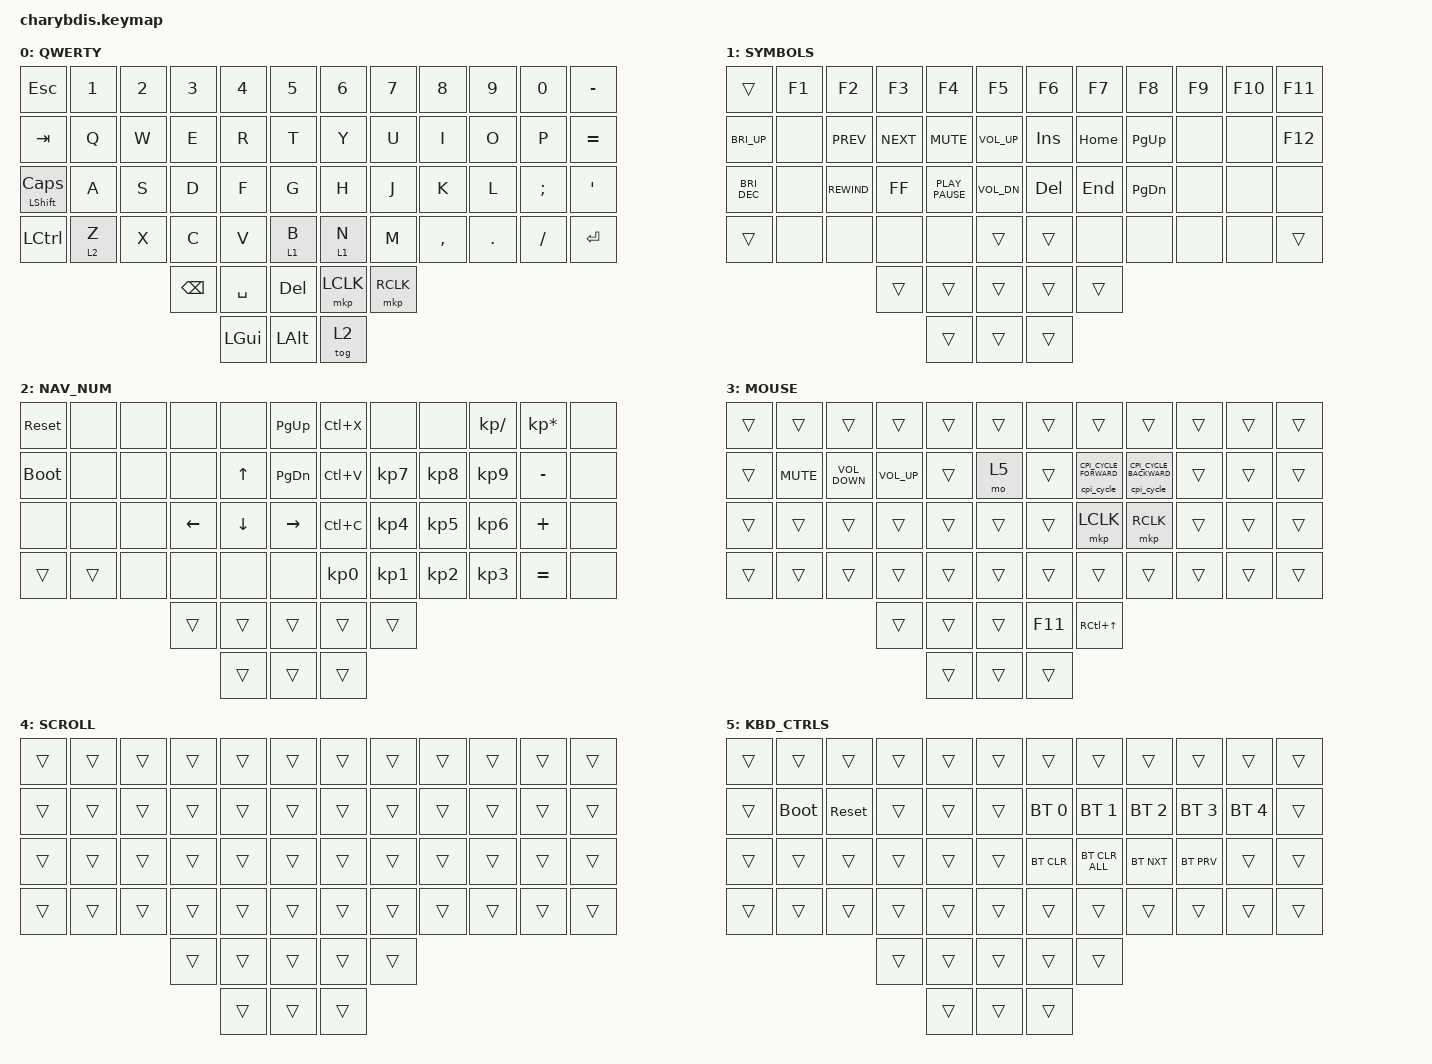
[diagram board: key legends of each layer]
#include <behaviors/mouse_keys.dtsi>
#include <dt-bindings/zmk/mouse.h>
#include <behaviors.dtsi>
#include <dt-bindings/zmk/bt.h>
#include <dt-bindings/zmk/keys.h>
#include <dt-bindings/zmk/pointing.h>
#include "macros.dtsi"

#define U_TAPPING_TERM 200
#define CPI_CYCLE_FORWARD 1

// Four-value cycle: +3 is equivalent to -1 without the module's negative-index overflow.

#define CPI_CYCLE_BACKWARD 3

&lt {
    tapping-term-ms = <U_TAPPING_TERM>;
    quick-tap-ms = <U_TAPPING_TERM>;
    flavor = "tap-preferred";
};

/ {
    behaviors {
        hrm_right: hrm_right {
            compatible = "zmk,behavior-hold-tap";
            label = "Homerow Mods Right";
            bindings = <&kp>, <&kp>;

            #binding-cells = <2>;
            tapping-term-ms = <200>;
            quick-tap-ms = <200>;
            flavor = "tap-preferred";
            hold-trigger-key-positions = <13 14 15 16 17 25 26 27 28 29 37 38 39 40 41 48 49>;
        };

        hrm_left: hrm_left {
            compatible = "zmk,behavior-hold-tap";
            label = "Homerow Mods Left";
            bindings = <&kp>, <&kp>;

            #binding-cells = <2>;
            tapping-term-ms = <200>;
            quick-tap-ms = <200>;
            flavor = "tap-preferred";
            hold-trigger-key-positions = <18 19 20 21 22 30 31 32 33 34 42 43 44 45 46 50 51>;
        };
    };

    combos {
        compatible = "zmk,combos";

        toggle_mouse_layer {
            bindings = <&tog 3>;
            key-positions = <51 22>;
        };

        return_base_layer {
            bindings = <&to 0>;
            key-positions = <18 51>;
        };
    };

    keymap {
        compatible = "zmk,keymap";

        BASE {
            display-name = "QWERTY";
            bindings = <
&kp ESC              &kp NUMBER_1  &kp N2  &kp N3         &kp N4        &kp N5          &kp N6     &kp N7     &kp N8     &kp N9      &kp N0         &kp MINUS
&kp TAB              &kp Q         &kp W   &kp E          &kp R         &kp T           &kp Y      &kp U      &kp I      &kp O       &kp P          &kp EQUAL
&mt LSHIFT CAPSLOCK  &kp A         &kp S   &kp D          &kp F         &kp G           &kp H      &kp J      &kp K      &kp L       &kp SEMICOLON  &kp APOS
&kp LCTRL            &lt 2 Z       &kp X   &kp C          &kp V         &lt 1 B         &lt 1 N    &kp M      &kp COMMA  &kp PERIOD  &kp SLASH      &kp ENTER
                                           &kp BACKSPACE  &kp SPACE     &kp DEL         &mkp LCLK  &mkp RCLK
                                                          &kp LEFT_GUI  &kp LEFT_ALT    &tog 2
            >;
        };

        SYMBOLS {
            display-name = "SYMBOLS";
            bindings = <
&trans                &kp F1  &kp F2        &kp F3      &kp F4            &kp F5             &kp F6   &kp F7    &kp F8         &kp F9  &kp F10  &kp F11
&kp C_BRI_UP          &none   &kp K_PREV    &kp K_NEXT  &kp K_MUTE        &kp C_VOLUME_UP    &kp INS  &kp HOME  &kp PAGE_UP    &none   &none    &kp F12
&kp C_BRIGHTNESS_DEC  &none   &kp C_REWIND  &kp C_FF    &kp K_PLAY_PAUSE  &kp C_VOL_DN       &kp DEL  &kp END   &kp PAGE_DOWN  &none   &none    &none
&trans                &none   &none         &none       &none             &trans             &trans   &none     &none          &none   &none    &trans
                                            &trans      &trans            &trans             &trans   &trans
                                                        &trans            &trans             &trans
            >;
        };

        NAV_NUM {
            display-name = "NAV_NUM";
            bindings = <
&sys_reset   &none   &none  &none     &none           &kp PAGE_UP      &kp LC(X)        &none            &none            &kp KP_DIVIDE    &kp KP_MULTIPLY  &none
&bootloader  &none   &none  &none     &kp UP          &kp PAGE_DOWN    &kp LC(V)        &kp KP_NUMBER_7  &kp KP_NUMBER_8  &kp KP_NUMBER_9  &kp MINUS        &none
&none        &none   &none  &kp LEFT  &kp DOWN_ARROW  &kp RIGHT        &kp LC(C)        &kp KP_NUMBER_4  &kp KP_NUMBER_5  &kp KP_NUMBER_6  &kp PLUS         &none
&trans       &trans  &none  &none     &none           &none            &kp KP_NUMBER_0  &kp KP_NUMBER_1  &kp KP_NUMBER_2  &kp KP_NUMBER_3  &kp EQUAL        &none
                            &trans    &trans          &trans           &trans           &trans
                                      &trans          &trans           &trans
            >;
        };

        MOUSE {
            display-name = "MOUSE";
            bindings = <
&trans  &trans      &trans             &trans           &trans  &trans    &trans   &trans                        &trans                         &trans  &trans  &trans
&trans  &kp K_MUTE  &kp C_VOLUME_DOWN  &kp C_VOLUME_UP  &trans  &mo 5     &trans   &cpi_cycle CPI_CYCLE_FORWARD  &cpi_cycle CPI_CYCLE_BACKWARD  &trans  &trans  &trans
&trans  &trans      &trans             &trans           &trans  &trans    &trans   &mkp LCLK                     &mkp RCLK                      &trans  &trans  &trans
&trans  &trans      &trans             &trans           &trans  &trans    &trans   &trans                        &trans                         &trans  &trans  &trans
                                       &trans           &trans  &trans    &kp F11  &kp RC(UP_ARROW)
                                                        &trans  &trans    &trans
            >;
        };

        SCROLL {
            display-name = "SCROLL";
            bindings = <
&trans  &trans  &trans  &trans  &trans  &trans    &trans  &trans  &trans  &trans  &trans  &trans
&trans  &trans  &trans  &trans  &trans  &trans    &trans  &trans  &trans  &trans  &trans  &trans
&trans  &trans  &trans  &trans  &trans  &trans    &trans  &trans  &trans  &trans  &trans  &trans
&trans  &trans  &trans  &trans  &trans  &trans    &trans  &trans  &trans  &trans  &trans  &trans
                        &trans  &trans  &trans    &trans  &trans
                                &trans  &trans    &trans
            >;
        };

        KEYBOARD_CONTROLS {
            display-name = "KBD_CTRLS";
            bindings = <
&trans  &trans       &trans      &trans  &trans  &trans    &trans        &trans          &trans        &trans        &trans        &trans
&trans  &bootloader  &sys_reset  &trans  &trans  &trans    &bt BT_SEL 0  &bt BT_SEL 1    &bt BT_SEL 2  &bt BT_SEL 3  &bt BT_SEL 4  &trans
&trans  &trans       &trans      &trans  &trans  &trans    &bt BT_CLR    &bt BT_CLR_ALL  &bt BT_NXT    &bt BT_PRV    &trans        &trans
&trans  &trans       &trans      &trans  &trans  &trans    &trans        &trans          &trans        &trans        &trans        &trans
                                 &trans  &trans  &trans    &trans        &trans
                                         &trans  &trans    &trans
            >;
        };
    };
};
